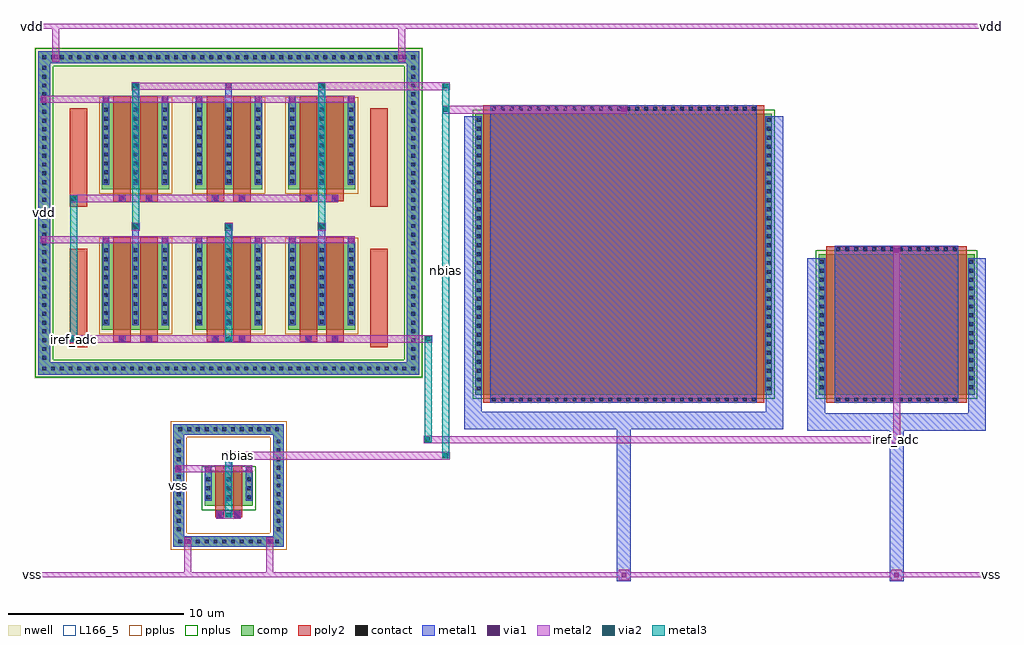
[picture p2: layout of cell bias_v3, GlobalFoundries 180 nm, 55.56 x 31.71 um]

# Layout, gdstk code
import gdstk
lib = gdstk.Library(unit=1e-6, precision=5e-09)
def R(c, l, rs):  # rectangles x0, y0, x1, y1
    for r in rs: c.add(gdstk.rectangle(r[:2], r[2:], *l))
def A(c, l, x, y, w, h, nx, ny, dx, dy):  # array of equal rectangles
    R(c, l, [(x+i*dx, y+j*dy, x+i*dx+w, y+j*dy+h) for i in range(nx) for j in range(ny)])
nwell = (21, 0)
comp = (22, 0)
poly2 = (30, 0)
pplus = (31, 0)
nplus = (32, 0)
contact = (33, 0)
metal1 = (34, 0)
via1 = (35, 0)
metal2 = (36, 0)
via2 = (38, 0)
metal3 = (42, 0)
L166_5 = (166, 5)

bias_v3 = lib.new_cell('bias_v3')
A(bias_v3, nwell, 0, 11.24, 4.7, 5.88, 3, 2, 5.3, 8)
R(bias_v3, nwell, [(21.54,7.77,38.74,24.23), (41.07,7.77,50.27,16.23), (-3.4,8.94,18.7,27.76)])
A(bias_v3, comp, 0.9, 11.68, 2.9, 5, 3, 2, 5.3, 8)
R(bias_v3, comp, [(4.51,-0.66,10.79,-0.06), (4.51,-0.06,5.11,5.72), (10.19,-0.06,10.79,5.72), (6.28,1.67,6.7,3.67), (6.7,1.67,8.6,3.67), (8.6,1.67,9.02,3.67), (4.51,5.72,10.79,6.32), (21.7,8,38.58,24), (41.23,8,50.11,16), (-3.2,9.14,18.5,9.84), (-3.2,9.84,-2.5,26.86), (17.8,9.84,18.5,26.86), (0.44,11.68,0.9,16.68), (3.8,11.68,4.26,16.68), (5.74,11.68,6.2,16.68), (9.1,11.68,9.56,16.68), (11.04,11.68,11.5,16.68), (14.4,11.68,14.86,16.68), (0.44,19.68,0.9,24.68), (3.8,19.68,4.26,24.68), (5.74,19.68,6.2,24.68), (9.1,19.68,9.56,24.68), (11.04,19.68,11.5,24.68), (14.4,19.68,14.86,24.68), (-3.2,26.86,18.5,27.56)])
R(bias_v3, poly2, [(6.89,1.01,7.39,1.37), (7.91,1.01,8.41,1.37), (6.89,1.37,7.39,3.97), (7.91,1.37,8.41,3.97), (22.14,7.54,38.14,24.46), (41.67,7.54,49.67,16.46), (-1.4,10.7,-0.4,16.3), (15.7,10.7,16.7,16.3), (1.09,11,2.09,11.38), (2.61,11,3.61,11.38), (6.39,11,7.39,11.38), (7.91,11,8.91,11.38), (11.69,11,12.69,11.38), (13.21,11,14.21,11.38), (1.09,11.38,2.09,16.98), (2.61,11.38,3.61,16.98), (6.39,11.38,7.39,16.98), (7.91,11.38,8.91,16.98), (11.69,11.38,12.69,16.98), (13.21,11.38,14.21,16.98), (-1.4,18.7,-0.4,24.3), (15.7,18.7,16.7,24.3), (1.09,19,2.09,19.38), (2.61,19,3.61,19.38), (6.39,19,7.39,19.38), (7.91,19,8.91,19.38), (11.69,19,12.69,19.38), (13.21,19,14.21,19.38), (1.09,19.38,2.09,24.98), (2.61,19.38,3.61,24.98), (6.39,19.38,7.39,24.98), (7.91,19.38,8.91,24.98), (11.69,19.38,12.69,24.98), (13.21,19.38,14.21,24.98)])
A(bias_v3, pplus, 0.27, 11.44, 4.16, 5.48, 3, 2, 5.3, 8)
R(bias_v3, pplus, [(4.35,-0.82,10.95,0.1), (4.35,-0.22,5.27,5.88), (10.03,-0.22,10.95,5.88), (4.35,5.56,10.95,6.48)])
R(bias_v3, nplus, [(6.11,1.43,9.19,3.91), (21.54,7.77,38.74,24.23), (41.07,7.77,50.27,16.23), (-3.36,8.98,18.66,10), (-3.36,9.68,-2.34,27.02), (17.64,9.68,18.66,27.02), (-3.36,26.7,18.66,27.72)])
A(bias_v3, contact, 4.79, -0.47, 0.22, 0.22, 12, 2, 0.5, 6.38)
A(bias_v3, contact, 4.7, 0.22, 0.22, 0.22, 1, 11, 0, 0.5)
A(bias_v3, contact, 10.38, 0.22, 0.22, 0.22, 1, 11, 0, 0.5)
A(bias_v3, contact, 6.38, 2.05, 0.22, 0.22, 3, 3, 1.16, 0.51)
A(bias_v3, contact, 22.635, 7.61, 0.22, 0.22, 30, 2, 0.51, 16.56)
A(bias_v3, contact, 42.245, 7.61, 0.22, 0.22, 14, 2, 0.51, 8.56)
A(bias_v3, contact, 21.77, 8.24, 0.22, 0.22, 1, 31, 0, 0.51)
A(bias_v3, contact, 38.29, 8.24, 0.22, 0.22, 1, 31, 0, 0.51)
A(bias_v3, contact, 41.3, 8.32, 0.22, 0.22, 1, 15, 0, 0.51)
A(bias_v3, contact, 49.82, 8.32, 0.22, 0.22, 1, 15, 0, 0.51)
A(bias_v3, contact, -2.96, 9.38, 0.22, 0.22, 43, 2, 0.5, 17.72)
A(bias_v3, contact, -2.96, 9.99, 0.22, 0.22, 1, 34, 0, 0.5)
A(bias_v3, contact, 18.04, 9.99, 0.22, 0.22, 1, 34, 0, 0.5)
A(bias_v3, contact, 0.56, 12.03, 0.22, 0.22, 3, 9, 1.68, 0.51)
A(bias_v3, contact, 5.86, 12.03, 0.22, 0.22, 3, 9, 1.68, 0.51)
A(bias_v3, contact, 11.16, 12.03, 0.22, 0.22, 3, 9, 1.68, 0.51)
A(bias_v3, contact, 0.56, 20.03, 0.22, 0.22, 3, 9, 1.68, 0.51)
A(bias_v3, contact, 5.86, 20.03, 0.22, 0.22, 3, 9, 1.68, 0.51)
A(bias_v3, contact, 11.16, 20.03, 0.22, 0.22, 3, 9, 1.68, 0.51)
R(bias_v3, contact, [(7.03,1.08,7.25,1.3), (8.05,1.08,8.27,1.3), (1.48,11.08,1.7,11.3), (3,11.08,3.22,11.3), (6.78,11.08,7,11.3), (8.3,11.08,8.52,11.3), (12.08,11.08,12.3,11.3), (13.6,11.08,13.82,11.3), (1.48,19.08,1.7,19.3), (3,19.08,3.22,19.3), (6.78,19.08,7,19.3), (8.3,19.08,8.52,19.3), (12.08,19.08,12.3,19.3), (13.6,19.08,13.82,19.3)])
A(bias_v3, metal1, 6.3, 1.97, 0.38, 1.4, 3, 1, 1.16, 0)
A(bias_v3, metal1, 0.48, 11.95, 0.38, 4.46, 3, 2, 1.68, 8)
A(bias_v3, metal1, 5.78, 11.95, 0.38, 4.46, 3, 2, 1.68, 8)
A(bias_v3, metal1, 11.08, 11.95, 0.38, 4.46, 3, 2, 1.68, 8)
A(bias_v3, metal1, 2.16, 16.36, 0.38, 1.4, 3, 2, 5.3, 8)
R(bias_v3, metal1, [(29.75,-2.61,30.55,6.02), (45.28,-2.61,46.08,5.94), (4.51,-0.66,10.79,-0.06), (4.51,-0.06,5.11,5.72), (10.19,-0.06,10.79,5.72), (6.95,1,7.33,1.38), (7.97,1,8.35,1.38), (6.3,3.32,6.68,3.97), (7.46,3.32,7.84,4.72), (8.62,3.32,9,3.97), (4.51,5.72,10.79,6.32), (40.6,5.94,50.76,6.94), (21.07,6.02,39.23,7.02), (40.6,6.94,41.6,15.76), (49.76,6.94,50.76,15.76), (21.07,7.02,22.07,23.84), (38.23,7.02,39.23,23.84), (22.555,7.53,37.725,7.91), (22.555,7.53,37.725,24.47), (42.165,7.53,49.175,7.91), (42.165,7.53,49.175,16.47), (21.69,8.16,22.07,23.84), (38.21,8.16,38.59,23.84), (41.22,8.24,41.6,15.76), (49.74,8.24,50.12,15.76), (-3.2,9.14,18.5,9.84), (-3.2,9.84,-2.5,26.86), (17.8,9.84,18.5,26.86), (1.4,11,1.78,11.38), (2.92,11,3.3,11.38), (6.7,11,7.08,11.38), (8.22,11,8.6,11.38), (12,11,12.38,11.38), (13.52,11,13.9,11.38), (42.165,16.09,49.175,16.47), (0.48,16.36,0.86,17.01), (3.84,16.36,4.22,17.01), (5.78,16.36,6.16,17.01), (9.14,16.36,9.52,17.01), (11.08,16.36,11.46,17.01), (14.44,16.36,14.82,17.01), (1.4,19,1.78,19.38), (2.92,19,3.3,19.38), (6.7,19,7.08,19.38), (8.22,19,8.6,19.38), (12,19,12.38,19.38), (13.52,19,13.9,19.38), (22.555,24.09,37.725,24.47), (0.48,24.36,0.86,25.01), (3.84,24.36,4.22,25.01), (5.78,24.36,6.16,25.01), (9.14,24.36,9.52,25.01), (11.08,24.36,11.46,25.01), (14.44,24.36,14.82,25.01), (-3.2,26.86,18.5,27.56)])
A(bias_v3, via1, 2.22, 17.43, 0.26, 0.26, 3, 2, 5.3, 8)
R(bias_v3, via1, [(30.02,-2.39,30.28,-2.13), (45.55,-2.39,45.81,-2.13), (5.18,-0.49,5.44,-0.23), (9.86,-0.49,10.12,-0.23), (7.01,1.06,7.27,1.32), (8.03,1.06,8.29,1.32), (4.68,3.64,4.94,3.9), (6.36,3.64,6.62,3.9), (8.68,3.64,8.94,3.9), (7.52,4.39,7.78,4.65), (1.46,11.06,1.72,11.32), (2.98,11.06,3.24,11.32), (6.76,11.06,7.02,11.32), (8.28,11.06,8.54,11.32), (12.06,11.06,12.32,11.32), (13.58,11.06,13.84,11.32), (45.54,16.09,45.8,16.35), (-2.98,16.68,-2.72,16.94), (0.54,16.68,0.8,16.94), (3.9,16.68,4.16,16.94), (5.84,16.68,6.1,16.94), (9.2,16.68,9.46,16.94), (11.14,16.68,11.4,16.94), (14.5,16.68,14.76,16.94), (1.46,19.06,1.72,19.32), (2.98,19.06,3.24,19.32), (6.76,19.06,7.02,19.32), (8.28,19.06,8.54,19.32), (12.06,19.06,12.32,19.32), (13.58,19.06,13.84,19.32), (30.01,24.09,30.27,24.35), (-2.98,24.68,-2.72,24.94), (0.54,24.68,0.8,24.94), (3.9,24.68,4.16,24.94), (5.84,24.68,6.1,24.94), (9.2,24.68,9.46,24.94), (11.14,24.68,11.4,24.94), (14.5,24.68,14.76,24.94), (-2.33,27.08,-2.07,27.34), (17.37,27.08,17.63,27.34)])
A(bias_v3, metal2, 1.4, 10.94, 1.9, 0.44, 3, 2, 5.3, 8)
A(bias_v3, metal2, 0.48, 16.61, 3.74, 0.4, 3, 2, 5.3, 8)
A(bias_v3, metal2, 2.12, 17.34, 0.46, 0.44, 3, 1, 5.3, 0)
A(bias_v3, metal2, 2.16, 17.36, 0.38, 0.4, 3, 2, 5.3, 8)
R(bias_v3, metal2, [(29.85,-2.56,30.45,-1.96), (45.38,-2.56,45.98,-1.96), (-4,-2.4,51.56,-2.12), (5.11,-2.26,5.51,-0.11), (9.79,-2.26,10.19,-0.11), (6.95,0.94,8.35,1.38), (7.42,0.94,7.88,1.38), (4.61,3.57,9,3.97), (6.3,3.57,9,3.97), (7.42,4.3,7.88,4.74), (7.45,4.3,20.23,4.74), (7.46,4.32,7.84,4.72), (18.77,5.22,19.23,5.66), (18.8,5.24,45.87,5.64), (45.47,5.24,45.87,16.47), (-1.4,10.94,13.9,11.38), (-1.4,10.94,-0.94,11.38), (1.4,10.94,13.9,11.38), (7.42,10.94,7.88,11.38), (13.7,10.94,19.23,11.38), (18.77,10.94,19.23,11.38), (-3.05,16.61,14.82,17.01), (0.48,16.61,14.82,17.01), (-1.4,18.94,13.9,19.38), (-1.4,18.94,-0.94,19.38), (1.4,18.94,13.9,19.38), (19.8,24,30.34,24.44), (-3.05,24.61,14.82,25.01), (0.48,24.61,14.82,25.01), (2.12,25.34,2.58,25.78), (12.72,25.34,13.18,25.78), (12.94,25.34,20.23,25.78), (2.16,25.36,13.14,25.76), (-2.4,26.96,-2,28.96), (17.3,26.96,17.7,28.96), (-4,28.82,51.56,29.1)])
A(bias_v3, via2, 2.22, 17.43, 0.26, 0.26, 3, 1, 5.3, 0)
R(bias_v3, via2, [(7.52,1.03,7.78,1.29), (7.52,4.39,7.78,4.65), (19.87,4.39,20.13,4.65), (18.87,5.31,19.13,5.57), (-1.3,11.03,-1.04,11.29), (7.52,11.03,7.78,11.29), (18.87,11.03,19.13,11.29), (-1.3,19.03,-1.04,19.29), (19.87,24.09,20.13,24.35), (2.22,25.43,2.48,25.69), (12.82,25.43,13.08,25.69), (19.87,25.43,20.13,25.69)])
R(bias_v3, metal3, [(7.45,1.01,7.85,4.67), (19.8,4.37,20.2,25.71), (18.8,5.29,19.2,11.31), (-1.37,11.01,-0.97,19.31), (7.45,11.01,7.85,17.71), (2.15,17.41,2.55,25.71), (12.75,17.41,13.15,25.71)])
R(bias_v3, L166_5, [(21.7,8,38.58,24), (41.23,8,50.11,16)])
bias_v3.add(gdstk.Label('vdd', (-2.85,18.35), layer=34, texttype=10))
bias_v3.add(gdstk.Label('vss', (4.81,2.83), layer=34, texttype=10))
bias_v3.add(gdstk.Label('iref_adc', (-1.15,11.16), layer=36, texttype=10))
bias_v3.add(gdstk.Label('vss', (-3.5,-2.26), layer=36, texttype=10))
bias_v3.add(gdstk.Label('vss', (51.06,-2.26), layer=36, texttype=10))
bias_v3.add(gdstk.Label('vdd', (-3.5,28.96), layer=36, texttype=10))
bias_v3.add(gdstk.Label('vdd', (51.06,28.96), layer=36, texttype=10))
bias_v3.add(gdstk.Label('vdd', (-3,28.96), layer=36, texttype=10))
bias_v3.add(gdstk.Label('vss', (-3,-2.26), layer=36, texttype=10))
bias_v3.add(gdstk.Label('nbias', (8.15,4.52), layer=36, texttype=10))
bias_v3.add(gdstk.Label('iref_adc', (45.67,5.44), layer=36, texttype=10))
bias_v3.add(gdstk.Label('nbias', (20,15.04), layer=42, texttype=10))

lib.write_gds('bias_v3.gds')
